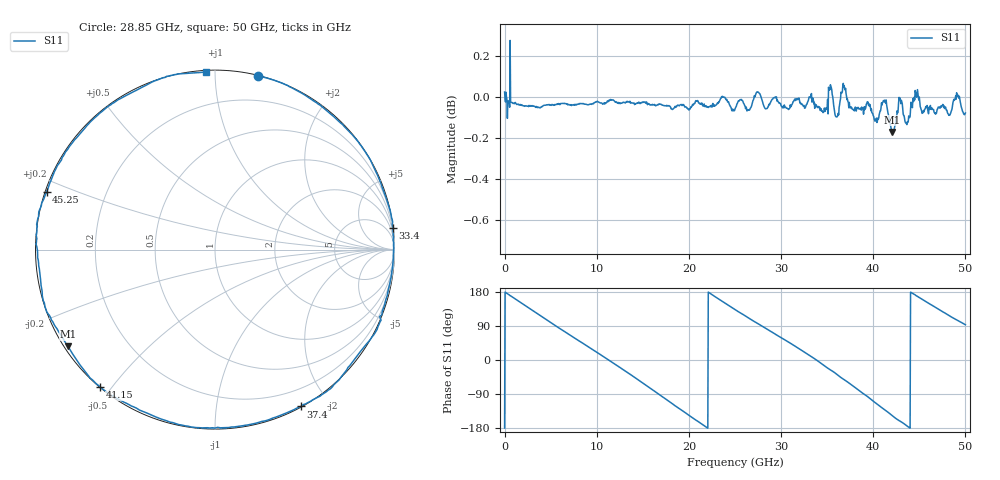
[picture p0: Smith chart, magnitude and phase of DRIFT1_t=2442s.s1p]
!Created with skrf (http://scikit-rf.org).
# Hz S RI R 50.0
!freq ReS11 ImS11
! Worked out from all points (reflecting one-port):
!   1001 points, 300 kHz to 50 GHz, reference 50 ohm
!   lowest |S11| = -0.2 dB at 42.05 GHz (marker M1), VSWR 101.97, Z = 0.534 - j15 ohm
!   phase of S11 starts at -180 deg and turns -807 deg over the sweep
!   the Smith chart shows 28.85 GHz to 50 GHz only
!   S11 on the Smith chart (normalised r, x): 28.85 GHz: 0.00, +1.28; 33.4 GHz: 0, +16; 37.4 GHz: 0.01, -1.69; 41.15 GHz: 0.00, -0.47; 45.25 GHz: 0.00, +0.17; 50 GHz: 0.01, +0.95
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300000  -1.003 -0.00814
1.65029e9  -0.8868 0.4524
3.450279e9  -0.5506 0.8283
6.250262e9  0.1901 0.978
9.600242e9  0.8903 0.4472
1.250022e10  0.9393 -0.3325
1.400022e10  0.7157 -0.6935
1.580021e10  0.2705 -0.958
1.72502e10  -0.1571 -0.9826
1.875019e10  -0.5712 -0.815
2.045018e10  -0.8913 -0.4429
2.185017e10  -0.9932 -0.06
2.345016e10  -0.923 0.3827
2.500015e10  -0.6733 0.7302
2.710014e10  -0.1991 0.9806
2.885013e10  0.242 0.9669
3.125011e10  0.7561 0.649
3.34001e10  0.9912 0.122
3.540009e10  0.8972 -0.4551
3.740008e10  0.4796 -0.874
3.750008e10  0.4519 -0.8852
3.935006e10  -0.1032 -0.9918
4.115005e10  -0.6381 -0.7672
4.205005e10  -0.8187 -0.5397
4.375004e10  -0.9829 -0.0755
4.525003e10  -0.9382 0.3227
4.770001e10  -0.5724 0.8137
5e10  -0.0517 0.9896
